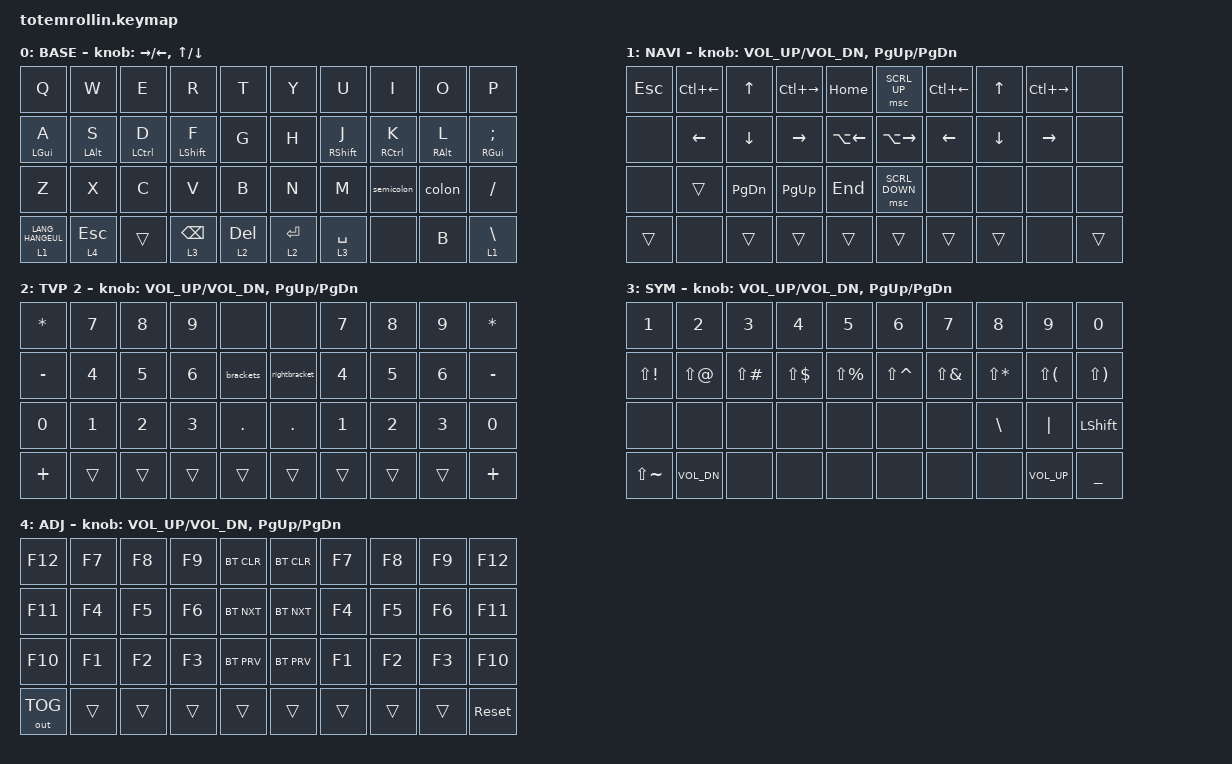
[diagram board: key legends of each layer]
//
//                                                        ▀▀▀▀▀     ▀▀▀▀▀          ▀▀█▀▀
//                                                        ▄▀▀▀▄  ▄  ▄▀▀▀▄  ▄  ▄▀▀▀▄  █  ▄▀▀▀▄
//                                                        █   █  █  █   █  █  █   █  █  █   █
//                                                         ▀▀▀   █   ▀▀▀   █   ▀▀▀   ▀   ▀▀▀
//                                                               █      ▄▄▄█▄▄▄    █   █  
//                                                               ▀      █  █  █     █▄█
//                                                             ▀▀▀▀▀    █  █  █      ▀
//                                                                      ▀  ▀  ▀
//
// ▄▄▄▄▄▄▄▄▄▄▄▄▄▄▄▄▄▄▄▄▄▄▄▄▄▄▄▄▄▄▄▄▄▄▄▄▄▄▄▄▄▄▄▄▄▄▄▄▄▄▄▄▄▄▄▄▄▄▄▄▄▄▄▄▄▄▄▄▄▄▄▄▄▄▄▄▄▄▄▄▄▄▄▄▄▄▄▄▄▄▄▄▄▄▄▄▄▄▄▄▄▄▄▄▄▄▄▄▄▄▄▄▄▄▄▄▄▄▄▄▄▄▄▄▄▄▄▄▄▄▄▄▄▄▄▄▄▄▄▄▄▄▄▄▄▄▄▄▄

#include <behaviors.dtsi>
#include <dt-bindings/zmk/bt.h>
#include <dt-bindings/zmk/keys.h>
#include <dt-bindings/zmk/outputs.h>
#include <dt-bindings/zmk/pointing.h>

#define BASE 0
#define NAV  1
#define SYM  2
#define ADJ  3
#define TVP1 4
#define TVP2 5

&mt {
    quick-tap-ms = <100>;
    global-quick-tap;
    flavor = "tap-preferred";
    tapping-term-ms = <170>;
};

/ {
    combos {
        compatible = "zmk,combos";

        combo_esc {
            timeout-ms = <50>;
            key-positions = <0 1>;
            bindings = <&kp ESC>;
        };

        combo_tvp {
            timeout-ms = <100>;
            key-positions = <11 12 13>;
            bindings = <&tog 0>;
        };
    };

    macros {
        Left_right_bracket: Left_bracket {
            compatible = "zmk,behavior-macro";
            #binding-cells = <0>;
            bindings =
                <&macro_tap>,
                <&kp LEFT_PARENTHESIS &kp RIGHT_PARENTHESIS &kp LEFT>;

            label = "LEFT_BRACKET";
        };

        left_right_bracket_2: left_right_bracket_2 {
            compatible = "zmk,behavior-macro";
            #binding-cells = <0>;
            bindings = <&kp LEFT_BRACE &kp RIGHT_BRACE &kp LEFT>;
            label = "LEFT_RIGHT_BRACKET_2";
        };

        left_right_bracket_3: left_right_bracket_3 {
            compatible = "zmk,behavior-macro";
            #binding-cells = <0>;
            bindings = <&kp LEFT_BRACKET &kp RIGHT_BRACKET &kp LEFT>;
            label = "LEFT_RIGHT_BRACKET_3";
        };
    };

    behaviors {
        semicolon: semicolon {
            compatible = "zmk,behavior-mod-morph";
            label = "SEMICOLON";
            bindings = <&kp COMMA>, <&kp SEMICOLON>;

            #binding-cells = <0>;
            mods = <(MOD_LSFT)>;
        };

        colon: colon {
            compatible = "zmk,behavior-mod-morph";
            label = "COLON";
            bindings = <&kp PERIOD>, <&kp COLON>;

            #binding-cells = <0>;
            mods = <(MOD_LSFT)>;
        };

        hm: homerow_mods {
            compatible = "zmk,behavior-hold-tap";
            label = "HOMEROW_MODS";
            #binding-cells = <2>;
            bindings = <&kp>, <&kp>;

            tapping-term-ms = <200>;
            quick-tap-ms = <130>;
            flavor = "tap-preferred";
            retro-tap;
        };

        brackets: brackets {
            compatible = "zmk,behavior-tap-dance";
            label = "BRACKETS";
            #binding-cells = <0>;
            bindings =
                <&small_bracket 0 LEFT_PARENTHESIS>,
                <&mid_bracket 0 LEFT_BRACE>,
                <&large_bracket 0 LEFT_BRACKET>;
        };

        rightbracket: rightbracket {
            compatible = "zmk,behavior-tap-dance";
            label = "RIGHTBRACKET";
            #binding-cells = <0>;
            bindings =
                <&kp RIGHT_PARENTHESIS>,
                <&kp RIGHT_BRACE>,
                <&kp RIGHT_BRACKET>;
        };

        small_bracket: small_bracket {
            compatible = "zmk,behavior-hold-tap";
            label = "SMALL_BRACKET";
            bindings = <&Left_right_bracket>, <&kp>;

            #binding-cells = <2>;
            tapping-term-ms = <200>;
            flavor = "balanced";
        };

        mid_bracket: mid_bracket {
            compatible = "zmk,behavior-hold-tap";
            label = "MID_BRACKET";
            bindings = <&left_right_bracket_2>, <&kp>;

            #binding-cells = <2>;
            tapping-term-ms = <200>;
            flavor = "balanced";
        };

        large_bracket: large_bracket {
            compatible = "zmk,behavior-hold-tap";
            label = "LARGE_BRACKET";
            bindings = <&left_right_bracket_3>, <&kp>;

            #binding-cells = <2>;
            tapping-term-ms = <200>;
            flavor = "balanced";
        };
    };

    keymap {
        compatible = "zmk,keymap";

        // ▄▄▄▄▄▄▄▄▄▄▄▄▄▄▄▄▄▄▄▄▄▄▄▄▄▄▄▄▄▄▄▄▄▄▄▄▄▄▄▄▄▄▄▄▄▄▄▄▄▄▄▄▄▄▄▄▄▄▄▄▄▄▄▄▄▄▄▄▄▄▄▄▄▄▄▄▄▄▄▄▄▄▄▄▄▄▄▄▄▄▄▄▄▄▄▄▄▄▄▄▄▄▄▄▄▄▄▄▄▄▄▄▄▄▄▄▄▄▄▄▄▄▄▄▄▄▄▄▄▄▄▄▄▄▄▄▄▄▄▄▄▄▄▄▄▄▄▄▄

        base_layer {
            // ┏━━━━━━━━━━━━━━━━━━━━━━━━━━━━━━━━━━━━━━━┓

            label = "BASE";

            // ┗━━━━━━━━━━━━━━━━━━━━━━━━━━━━━━━━━━━━━━━┛
            //             ┏━━━━━━━━━━━┳━━━━━━━━━━━┳━━━━━━━━━━━┳━━━━━━━━━━━┳━━━━━━━━━━━┓                           ┏━━━━━━━━━━━┳━━━━━━━━━━━┳━━━━━━━━━━━┳━━━━━━━━━━━┳━━━━━━━━━━━┓
            //             ┃     Q     ┃     W     ┃     E     ┃     R     ┃     T     ┃                           ┃     Y     ┃     U     ┃     I     ┃     O     ┃     P     ┃
            //             ┣━━━━━━━━━━━╋━━━━━━━━━━━╋━━━━━━━━━━━╋━━━━━━━━━━━╋━━━━━━━━━━━┫                           ┣━━━━━━━━━━━╋━━━━━━━━━━━╋━━━━━━━━━━━╋━━━━━━━━━━━╋━━━━━━━━━━━┫
            //             ┃     A     ┃     S     ┃     D     ┃     F     ┃     G     ┃                           ┃     H     ┃     J     ┃     K     ┃     L     ┃     ;     ┃
            // ┏━━━━━━━━━━━╋━━━━━━━━━━━╋━━━━━━━━━━━╋━━━━━━━━━━━╋━━━━━━━━━━━╋━━━━━━━━━━━╋━━━━━━━━━━━┓   ┏━━━━━━━━━━━╋━━━━━━━━━━━╋━━━━━━━━━━━╋━━━━━━━━━━━╋━━━━━━━━━━━╋━━━━━━━━━━━╋━━━━━━━━━━━┓
            // ┃     Q     ┃     Z     ┃     X     ┃     C     ┃     V     ┃     B     ┃     N     ┃   ┃     B     ┃     N     ┃     M     ┃     ,     ┃     .     ┃     /     ┃     \     ┃
            // ┗━━━━━━━━━━━┻━━━━━━━━━━━┻━━━━━━━━━━━╋━━━━━━━━━━━╋━━━━━━━━━━━╋━━━━━━━━━━━╋━━━━━━━━━━━┛   ┗━━━━━━━━━━━╋━━━━━━━━━━━╋━━━━━━━━━━━╋━━━━━━━━━━━╋━━━━━━━━━━━┻━━━━━━━━━━━┻━━━━━━━━━━━┛
            //                                     ┃    DEL    ┃    TAB    ┃    SPC    ┃                           ┃   ENTER   ┃           ┃   BSPC    ┃
            //                                     ┗━━━━━━━━━━━┻━━━━━━━━━━━┻━━━━━━━━━━━┛                           ┗━━━━━━━━━━━┻━━━━━━━━━━━┻━━━━━━━━━━━┛

            bindings = <
&kp Q               &kp W       &kp E        &kp R            &kp T         &kp Y        &kp U        &kp I        &kp O       &kp P
&hm LGUI A          &hm LALT S  &hm LCTRL D  &hm LSHFT F      &kp G         &kp H        &hm RSHFT J  &hm RCTRL K  &hm RALT L  &hm RGUI SEMI
&kp Z               &kp X       &kp C        &kp V            &kp B         &kp N        &kp M        &semicolon   &colon      &kp FSLH
&lt 1 LANG_HANGEUL  &lt 4 ESC   &trans       &lt 3 BACKSPACE  &lt 2 DELETE  &lt 2 ENTER  &lt 3 SPACE  &none        &kp B       &lt 1 BACKSLASH
            >;

            sensor-bindings =
                <&inc_dec_kp RIGHT LEFT>,
                <&inc_dec_kp UP_ARROW DOWN>;
        };

        nav_layer {
            // ┏━━━━━━━━━━━━━━━━━━━━━━━━━━━━━━━━━━━━━━━┓

            label = "NAVI";

            // ┗━━━━━━━━━━━━━━━━━━━━━━━━━━━━━━━━━━━━━━━┛
            //             ┏━━━━━━━━━━━┳━━━━━━━━━━━┳━━━━━━━━━━━┳━━━━━━━━━━━┳━━━━━━━━━━━┓                           ┏━━━━━━━━━━━┳━━━━━━━━━━━┳━━━━━━━━━━━┳━━━━━━━━━━━┳━━━━━━━━━━━┓
            //             ┃           ┃           ┃     UP    ┃           ┃     {     ┃                           ┃     }     ┃     7     ┃     8     ┃     9     ┃     +     ┃
            //             ┣━━━━━━━━━━━╋━━━━━━━━━━━╋━━━━━━━━━━━╋━━━━━━━━━━━╋━━━━━━━━━━━┫                           ┣━━━━━━━━━━━╋━━━━━━━━━━━╋━━━━━━━━━━━╋━━━━━━━━━━━╋━━━━━━━━━━━┫
            //             ┃   SHIFT   ┃   LEFT    ┃    DOWN   ┃   RIGHT   ┃     [     ┃                           ┃     ]     ┃     4     ┃     5     ┃     6     ┃     -     ┃
            // ┏━━━━━━━━━━━╋━━━━━━━━━━━╋━━━━━━━━━━━╋━━━━━━━━━━━╋━━━━━━━━━━━╋━━━━━━━━━━━╋━━━━━━━━━━━┓   ┏━━━━━━━━━━━╋━━━━━━━━━━━╋━━━━━━━━━━━╋━━━━━━━━━━━╋━━━━━━━━━━━╋━━━━━━━━━━━╋━━━━━━━━━━━┓
            // ┃           ┃           ┃   P UP    ┃  C LOCK   ┃  P DOWN   ┃     (     ┃     N     ┃   ┃     B     ┃     )     ┃     1     ┃     2     ┃     3     ┃     *     ┃           ┃
            // ┗━━━━━━━━━━━┻━━━━━━━━━━━┻━━━━━━━━━━━╋━━━━━━━━━━━╋━━━━━━━━━━━╋━━━━━━━━━━━╋━━━━━━━━━━━┛   ┗━━━━━━━━━━━╋━━━━━━━━━━━╋━━━━━━━━━━━╋━━━━━━━━━━━╋━━━━━━━━━━━┻━━━━━━━━━━━┻━━━━━━━━━━━┛
            //                                     ┃           ┃    TAB    ┃    SPC    ┃                           ┃    DEL    ┃     0     ┃           ┃
            //                                     ┗━━━━━━━━━━━┻━━━━━━━━━━━┻━━━━━━━━━━━┛                           ┗━━━━━━━━━━━┻━━━━━━━━━━━┻━━━━━━━━━━━┛

            bindings = <
&kp ESC  &kp LC(LEFT)  &kp UP     &kp LC(RIGHT)  &kp HOME      &msc SCRL_UP         &kp LC(LEFT_ARROW)  &kp UP_ARROW  &kp LC(RIGHT)  &none
&none    &kp LEFT      &kp DOWN   &kp RIGHT      &kp LA(LEFT)  &kp LA(RIGHT_ARROW)  &kp LEFT            &kp DOWN      &kp RIGHT      &none
&none    &trans        &kp PG_DN  &kp PG_UP      &kp END       &msc SCRL_DOWN       &none               &none         &none          &none
&trans   &none         &trans     &trans         &trans        &trans               &trans              &trans        &none          &trans
            >;

            sensor-bindings = <&inc_dec_kp C_VOL_UP C_VOL_DN &inc_dec_kp PG_UP PG_DN>;
        };

        num_layer {
            // ┏━━━━━━━━━━━━━━━━━━━━━━━━━━━━━━━━━━━━━━━┓

            label = "TVP 2";

            // ┗━━━━━━━━━━━━━━━━━━━━━━━━━━━━━━━━━━━━━━━┛
            //             ┏━━━━━━━━━━━┳━━━━━━━━━━━┳━━━━━━━━━━━┳━━━━━━━━━━━┳━━━━━━━━━━━┓                           ┏━━━━━━━━━━━┳━━━━━━━━━━━┳━━━━━━━━━━━┳━━━━━━━━━━━┳━━━━━━━━━━━┓
            //             ┃ SOLO      ┃ TOGGLE IN ┃ RESET ROT ┃ TOGGLE OUT┃ TAKE SNAP ┃                           ┃           ┃           ┃           ┃           ┃           ┃
            //             ┣━━━━━━━━━━━╋━━━━━━━━━━━╋━━━━━━━━━━━╋━━━━━━━━━━━╋━━━━━━━━━━━┫                           ┣━━━━━━━━━━━╋━━━━━━━━━━━╋━━━━━━━━━━━╋━━━━━━━━━━━╋━━━━━━━━━━━┫
            //             ┃ ---       ┃ LAST KEY  ┃ NEW KEY   ┃ NEXT KEY  ┃ ENTER     ┃                           ┃           ┃           ┃           ┃           ┃           ┃
            // ┏━━━━━━━━━━━╋━━━━━━━━━━━╋━━━━━━━━━━━╋━━━━━━━━━━━╋━━━━━━━━━━━╋━━━━━━━━━━━╋━━━━━━━━━━━┓   ┏━━━━━━━━━━━╋━━━━━━━━━━━╋━━━━━━━━━━━╋━━━━━━━━━━━╋━━━━━━━━━━━╋━━━━━━━━━━━╋━━━━━━━━━━━┓
            // ┃           ┃ FULLSCR   ┃ CPY2BRUSH ┃ DEL HEAD  ┃ PSTinPLACE┃ BOOK MARK ┃           ┃   ┃           ┃           ┃           ┃           ┃           ┃           ┃           ┃
            // ┗━━━━━━━━━━━┻━━━━━━━━━━━┻━━━━━━━━━━━╋━━━━━━━━━━━╋━━━━━━━━━━━╋━━━━━━━━━━━╋━━━━━━━━━━━┛   ┗━━━━━━━━━━━╋━━━━━━━━━━━╋━━━━━━━━━━━╋━━━━━━━━━━━╋━━━━━━━━━━━┻━━━━━━━━━━━┻━━━━━━━━━━━┛
            //                                     ┃           ┃ REDO/SAV1 ┃TRANS/WARP ┃                           ┃           ┃           ┃           ┃
            //                                     ┗━━━━━━━━━━━┻━━━━━━━━━━━┻━━━━━━━━━━━┛                           ┗━━━━━━━━━━━┻━━━━━━━━━━━┻━━━━━━━━━━━┛

            bindings = <
&kp STAR   &kp N7  &kp N8  &kp N9  &none      &none          &kp N7  &kp N8  &kp N9  &kp STAR
&kp MINUS  &kp N4  &kp N5  &kp N6  &brackets  &rightbracket  &kp N4  &kp N5  &kp N6  &kp MINUS
&kp N0     &kp N1  &kp N2  &kp N3  &kp DOT    &kp DOT        &kp N1  &kp N2  &kp N3  &kp N0
&kp PLUS   &trans  &trans  &trans  &trans     &trans         &trans  &trans  &trans  &kp PLUS
            >;

            sensor-bindings = <&inc_dec_kp C_VOL_UP C_VOL_DN &inc_dec_kp PG_UP PG_DN>;
        };

        sim_layer {
            // ┏━━━━━━━━━━━━━━━━━━━━━━━━━━━━━━━━━━━━━━━┓

            label = "SYM";

            // ┗━━━━━━━━━━━━━━━━━━━━━━━━━━━━━━━━━━━━━━━┛
            //             ┏━━━━━━━━━━━┳━━━━━━━━━━━┳━━━━━━━━━━━┳━━━━━━━━━━━┳━━━━━━━━━━━┓                           ┏━━━━━━━━━━━┳━━━━━━━━━━━┳━━━━━━━━━━━┳━━━━━━━━━━━┳━━━━━━━━━━━┓
            //             ┃     !     ┃     @     ┃     #     ┃     $     ┃     %     ┃                           ┃     ˆ     ┃     &     ┃     Ü     ┃     '     ┃     "     ┃
            //             ┣━━━━━━━━━━━╋━━━━━━━━━━━╋━━━━━━━━━━━╋━━━━━━━━━━━╋━━━━━━━━━━━┫                           ┣━━━━━━━━━━━╋━━━━━━━━━━━╋━━━━━━━━━━━╋━━━━━━━━━━━╋━━━━━━━━━━━┫
            //             ┃     Ä     ┃           ┃    SZ     ┃           ┃           ┃                           ┃   MUTE    ┃   YEN     ┃   EURO    ┃  POUND    ┃     Ö     ┃
            // ┏━━━━━━━━━━━╋━━━━━━━━━━━╋━━━━━━━━━━━╋━━━━━━━━━━━╋━━━━━━━━━━━╋━━━━━━━━━━━╋━━━━━━━━━━━┓   ┏━━━━━━━━━━━╋━━━━━━━━━━━╋━━━━━━━━━━━╋━━━━━━━━━━━╋━━━━━━━━━━━╋━━━━━━━━━━━╋━━━━━━━━━━━┓
            // ┃           ┃  EMAIL1   ┃  EMAIL2   ┃           ┃           ┃           ┃     N     ┃   ┃     B     ┃   VOL-    ┃   VOL+    ┃   LAST    ┃   NEXT    ┃     \     ┃           ┃
            // ┗━━━━━━━━━━━┻━━━━━━━━━━━┻━━━━━━━━━━━╋━━━━━━━━━━━╋━━━━━━━━━━━╋━━━━━━━━━━━╋━━━━━━━━━━━┛   ┗━━━━━━━━━━━╋━━━━━━━━━━━╋━━━━━━━━━━━╋━━━━━━━━━━━╋━━━━━━━━━━━┻━━━━━━━━━━━┻━━━━━━━━━━━┛
            //                                     ┃           ┃    GIF    ┃    ADJ    ┃                           ┃           ┃           ┃           ┃
            //                                     ┗━━━━━━━━━━━┻━━━━━━━━━━━┻━━━━━━━━━━━┛                           ┗━━━━━━━━━━━┻━━━━━━━━━━━┻━━━━━━━━━━━┛

            bindings = <
&kp N1         &kp N2        &kp N3         &kp N4        &kp N5         &kp N6         &kp N7        &kp N8        &kp N9        &kp N0
&kp LS(EXCL)   &kp LS(AT)    &kp LS(POUND)  &kp LS(DLLR)  &kp LS(PRCNT)  &kp LS(CARET)  &kp LS(AMPS)  &kp LS(STAR)  &kp LS(LPAR)  &kp LS(RPAR)
&none          &none         &none          &none         &none          &none          &none         &kp BSLH      &kp PIPE      &kp LSHFT
&kp LS(TILDE)  &kp C_VOL_DN  &none          &none         &none          &none          &none         &none         &kp C_VOL_UP  &kp UNDERSCORE
            >;

            sensor-bindings = <&inc_dec_kp C_VOL_UP C_VOL_DN &inc_dec_kp PG_UP PG_DN>;
        };

        adjust_layer {
            // ┏━━━━━━━━━━━━━━━━━━━━━━━━━━━━━━━━━━━━━━━┓

            label = "ADJ";

            // ┗━━━━━━━━━━━━━━━━━━━━━━━━━━━━━━━━━━━━━━━┛
            //             ┏━━━━━━━━━━━┳━━━━━━━━━━━┳━━━━━━━━━━━┳━━━━━━━━━━━┳━━━━━━━━━━━┓                           ┏━━━━━━━━━━━┳━━━━━━━━━━━┳━━━━━━━━━━━┳━━━━━━━━━━━┳━━━━━━━━━━━┓
            //             ┃   RESET   ┃ BT CLEAR  ┃  OUT TOG  ┃           ┃           ┃                           ┃           ┃    F7     ┃    F8     ┃    F9     ┃    F12    ┃
            //             ┣━━━━━━━━━━━╋━━━━━━━━━━━╋━━━━━━━━━━━╋━━━━━━━━━━━╋━━━━━━━━━━━┫                           ┣━━━━━━━━━━━╋━━━━━━━━━━━╋━━━━━━━━━━━╋━━━━━━━━━━━╋━━━━━━━━━━━┫
            //             ┃ BOOTLOAD  ┃ BT NEXT   ┃           ┃           ┃           ┃                           ┃           ┃    F4     ┃    F5     ┃    F6     ┃    F11    ┃
            // ┏━━━━━━━━━━━╋━━━━━━━━━━━╋━━━━━━━━━━━╋━━━━━━━━━━━╋━━━━━━━━━━━╋━━━━━━━━━━━╋━━━━━━━━━━━┓   ┏━━━━━━━━━━━╋━━━━━━━━━━━╋━━━━━━━━━━━╋━━━━━━━━━━━╋━━━━━━━━━━━╋━━━━━━━━━━━╋━━━━━━━━━━━┓
            // ┃           ┃           ┃ BT PREV   ┃           ┃           ┃           ┃           ┃   ┃           ┃           ┃    F1     ┃    F2     ┃    F3     ┃    F10    ┃           ┃
            // ┗━━━━━━━━━━━┻━━━━━━━━━━━┻━━━━━━━━━━━╋━━━━━━━━━━━╋━━━━━━━━━━━╋━━━━━━━━━━━╋━━━━━━━━━━━┛   ┗━━━━━━━━━━━╋━━━━━━━━━━━╋━━━━━━━━━━━╋━━━━━━━━━━━╋━━━━━━━━━━━┻━━━━━━━━━━━┻━━━━━━━━━━━┛
            //                                     ┃           ┃           ┃           ┃                           ┃           ┃           ┃           ┃
            //                                     ┗━━━━━━━━━━━┻━━━━━━━━━━━┻━━━━━━━━━━━┛                           ┗━━━━━━━━━━━┻━━━━━━━━━━━┻━━━━━━━━━━━┛

            bindings = <
&kp F12       &kp F7  &kp F8  &kp F9  &bt BT_CLR  &bt BT_CLR  &kp F7  &kp F8  &kp F9  &kp F12
&kp F11       &kp F4  &kp F5  &kp F6  &bt BT_NXT  &bt BT_NXT  &kp F4  &kp F5  &kp F6  &kp F11
&kp F10       &kp F1  &kp F2  &kp F3  &bt BT_PRV  &bt BT_PRV  &kp F1  &kp F2  &kp F3  &kp F10
&out OUT_TOG  &trans  &trans  &trans  &trans      &trans      &trans  &trans  &trans  &sys_reset
            >;

            sensor-bindings = <&inc_dec_kp C_VOL_UP C_VOL_DN &inc_dec_kp PG_UP PG_DN>;
        };
    };
};
